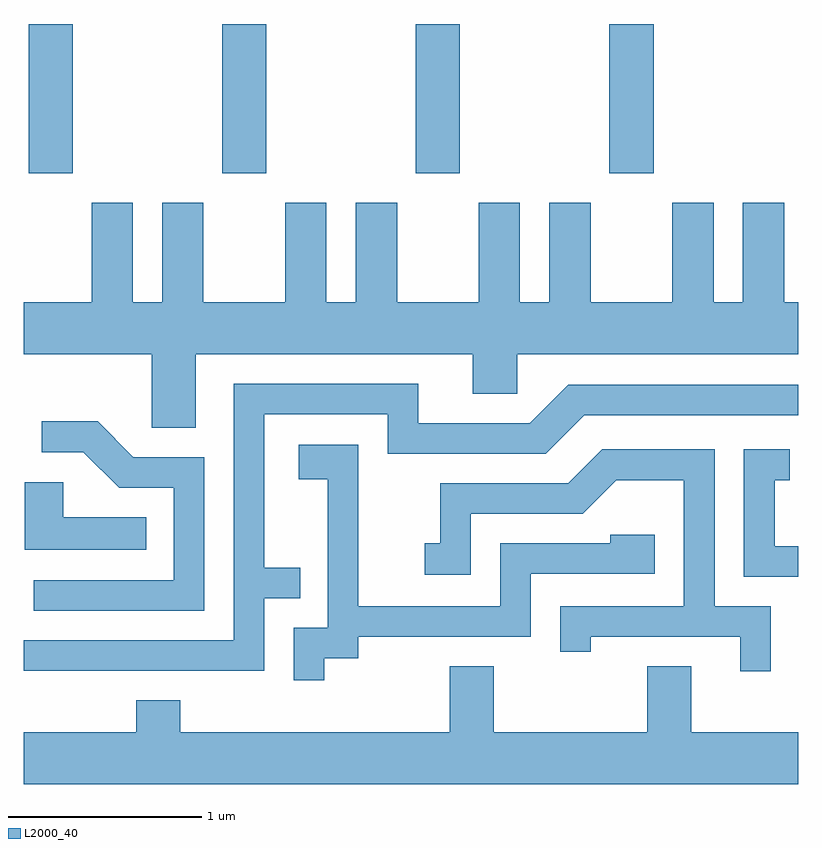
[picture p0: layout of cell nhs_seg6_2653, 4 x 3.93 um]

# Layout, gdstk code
import gdstk
lib = gdstk.Library(unit=1e-6, precision=1e-09)
def R(c, l, rs):  # rectangles x0, y0, x1, y1
    for r in rs: c.add(gdstk.rectangle(r[:2], r[2:], *l))
def A(c, l, x, y, w, h, nx, ny, dx, dy):  # array of equal rectangles
    R(c, l, [(x+i*dx, y+j*dy, x+i*dx+w, y+j*dy+h) for i in range(nx) for j in range(ny)])
def P(c, l, *ps):  # polygons
    for p in ps: c.add(gdstk.Polygon(p, *l))
L2000_40 = (2000, 40)

nhs_seg6_2653 = lib.new_cell('nhs_seg6_2653')
A(nhs_seg6_2653, L2000_40, 265.636, 1575.391, 0.228, 0.771, 4, 1, 1, 0)
P(nhs_seg6_2653, L2000_40, [(266.499,1574.456),(267.931,1574.456),(267.931,1574.251),(268.159,1574.251),(268.159,1574.456),(269.611,1574.456),(269.611,1574.724),(269.539,1574.724),(269.539,1575.239),(269.326,1575.239),(269.326,1574.724),(269.174,1574.724),(269.174,1575.239),(268.961,1575.239),(268.961,1574.724),(268.539,1574.724),(268.539,1575.239),(268.326,1575.239),(268.326,1574.724),(268.174,1574.724),(268.174,1575.239),(267.961,1575.239),(267.961,1574.724),(267.539,1574.724),(267.539,1575.239),(267.326,1575.239),(267.326,1574.724),(267.174,1574.724),(267.174,1575.239),(266.961,1575.239),(266.961,1574.724),(266.539,1574.724),(266.539,1575.239),(266.326,1575.239),(266.326,1574.724),(266.174,1574.724),(266.174,1575.239),(265.961,1575.239),(265.961,1574.724),(265.611,1574.724),(265.611,1574.456),(266.271,1574.456),(266.271,1574.076),(266.499,1574.076)],
  [(266.854,1573.196),(267.038,1573.196),(267.038,1573.354),(266.854,1573.354),(266.854,1574.146),(267.491,1574.146),(267.491,1573.941),(268.307,1573.941),(268.507,1574.141),(269.611,1574.141),(269.611,1574.299),(268.424,1574.299),(268.224,1574.099),(267.649,1574.099),(267.649,1574.304),(266.696,1574.304),(266.696,1572.979),(265.611,1572.979),(265.611,1572.821),(266.854,1572.821)],
  [(266.544,1573.924),(266.177,1573.924),(265.992,1574.109),(265.703,1574.109),(265.703,1573.951),(265.919,1573.951),(266.104,1573.766),(266.386,1573.766),(266.386,1573.289),(265.663,1573.289),(265.663,1573.131),(266.544,1573.131)],
  [(267.164,1572.886),(267.339,1572.886),(267.339,1572.996),(268.229,1572.996),(268.229,1573.321),(268.869,1573.321),(268.869,1573.524),(268.641,1573.524),(268.641,1573.479),(268.071,1573.479),(268.071,1573.154),(267.339,1573.154),(267.339,1573.989),(267.031,1573.989),(267.031,1573.811),(267.181,1573.811),(267.181,1573.044),(267.006,1573.044),(267.006,1572.773),(267.164,1572.773)],
  [(269.611,1573.464),(269.489,1573.464),(269.489,1573.806),(269.568,1573.806),(269.568,1573.964),(269.331,1573.964),(269.331,1573.306),(269.611,1573.306)],
  [(269.469,1573.154),(269.179,1573.154),(269.179,1573.964),(268.599,1573.964),(268.424,1573.789),(267.761,1573.789),(267.761,1573.479),(267.683,1573.479),(267.683,1573.316),(267.919,1573.316),(267.919,1573.631),(268.497,1573.631),(268.672,1573.806),(269.021,1573.806),(269.021,1573.154),(268.381,1573.154),(268.381,1572.918),(268.539,1572.918),(268.539,1572.996),(269.311,1572.996),(269.311,1572.818),(269.469,1572.818)],
  [(266.243,1573.614),(265.814,1573.614),(265.814,1573.794),(265.616,1573.794),(265.616,1573.446),(266.243,1573.446)],
  [(269.611,1572.504),(269.059,1572.504),(269.059,1572.844),(268.831,1572.844),(268.831,1572.504),(268.039,1572.504),(268.039,1572.844),(267.811,1572.844),(267.811,1572.504),(266.419,1572.504),(266.419,1572.669),(266.191,1572.669),(266.191,1572.504),(265.611,1572.504),(265.611,1572.236),(269.611,1572.236)])

lib.write_gds('nhs_seg6_2653.gds')
